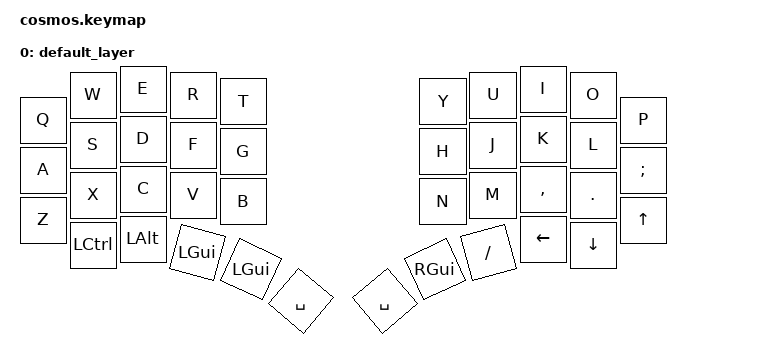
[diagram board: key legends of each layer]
#include <behaviors.dtsi>
#include <dt-bindings/zmk/keys.h>

 / {
    keymap {
        compatible = "zmk,keymap";

        default_layer {
            bindings = <
&kp Q      &kp W     &kp E     &kp R      &kp T              &kp Y      &kp U      &kp I      &kp O       &kp P
&kp A      &kp S     &kp D     &kp F      &kp G              &kp H      &kp J      &kp K      &kp L       &kp SEMI
&kp Z      &kp X     &kp C     &kp V      &kp B              &kp N      &kp M      &kp COMMA  &kp PERIOD  &kp UP
&kp LCTRL  &kp LALT  &kp LGUI  &kp LGUI   &kp SPACE          &kp SPACE  &kp RGUI   &kp SLASH  &kp LEFT    &kp DOWN
            >;
        };
    };
};
